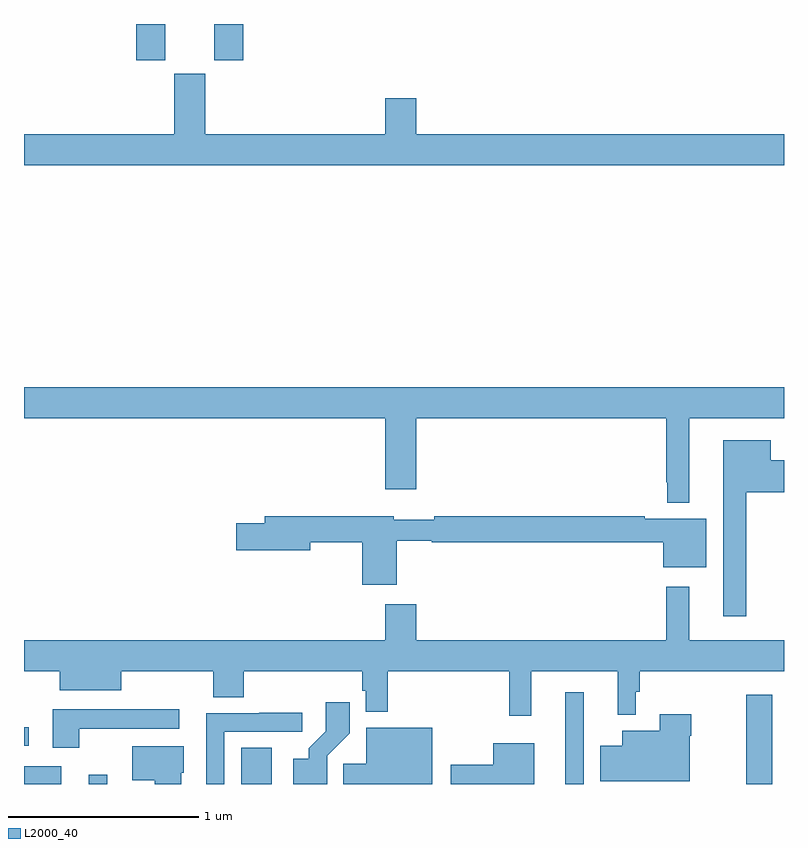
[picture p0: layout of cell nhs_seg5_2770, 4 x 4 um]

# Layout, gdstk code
import gdstk
lib = gdstk.Library(unit=1e-6, precision=1e-09)
def R(c, l, rs):  # rectangles x0, y0, x1, y1
    for r in rs: c.add(gdstk.rectangle(r[:2], r[2:], *l))
def P(c, l, *ps):  # polygons
    for p in ps: c.add(gdstk.Polygon(p, *l))
L2000_40 = (2000, 40)

nhs_seg5_2770 = lib.new_cell('nhs_seg5_2770')
R(nhs_seg5_2770, L2000_40, [(271,890.799,271.195,890.893), (271.34,890.799,271.438,890.848), (272.144,890.799,272.305,890.989), (273.848,890.799,273.945,891.283), (274.801,890.799,274.939,891.268), (271,891,271.024,891.097), (271.592,894.609,271.744,894.799), (272,894.609,272.153,894.799)])
P(nhs_seg5_2770, L2000_40, [(275,894.22),(273.064,894.22),(273.064,894.409),(272.9,894.409),(272.9,894.22),(271.954,894.22),(271.954,894.537),(271.79,894.537),(271.79,894.22),(271,894.22),(271,894.056),(275,894.056)],
  [(274.501,892.724),(275,892.724),(275,892.888),(271,892.888),(271,892.724),(272.9,892.724),(272.9,892.35),(273.064,892.35),(273.064,892.724),(274.38,892.724),(274.38,892.387),(274.386,892.387),(274.386,892.28),(274.501,892.28)],
  [(274.801,892.334),(275,892.334),(275,892.504),(274.93,892.504),(274.93,892.609),(274.679,892.609),(274.679,891.681),(274.801,891.681)],
  [(272.963,892.08),(273.146,892.08),(273.146,892.072),(274.364,892.072),(274.364,891.941),(274.591,891.941),(274.591,892.195),(274.268,892.195),(274.268,892.208),(273.16,892.208),(273.16,892.189),(272.946,892.189),(272.946,892.208),(272.267,892.208),(272.267,892.172),(272.118,892.172),(272.118,892.03),(272.506,892.03),(272.506,892.072),(272.78,892.072),(272.78,891.849),(272.963,891.849)],
  [(273.671,891.392),(274.124,891.392),(274.124,891.164),(274.221,891.164),(274.221,891.285),(274.241,891.285),(274.241,891.392),(275,891.392),(275,891.556),(274.501,891.556),(274.501,891.838),(274.38,891.838),(274.38,891.556),(273.064,891.556),(273.064,891.745),(272.9,891.745),(272.9,891.556),(271,891.556),(271,891.392),(271.187,891.392),(271.187,891.293),(271.513,891.293),(271.513,891.392),(271.996,891.392),(271.996,891.256),(272.156,891.256),(272.156,891.392),(272.779,891.392),(272.779,891.291),(272.799,891.291),(272.799,891.179),(272.915,891.179),(272.915,891.392),(273.553,891.392),(273.553,891.159),(273.671,891.159)],
  [(272.595,890.947),(272.714,891.066),(272.714,891.229),(272.589,891.229),(272.589,891.077),(272.498,890.987),(272.498,890.932),(272.418,890.932),(272.418,890.799),(272.595,890.799)],
  [(271.291,891.089),(271.816,891.089),(271.816,891.193),(271.151,891.193),(271.151,890.991),(271.291,890.991)],
  [(272.055,891.075),(272.464,891.075),(272.464,891.174),(272.239,891.174),(272.239,891.171),(271.959,891.171),(271.959,890.799),(272.055,890.799)],
  [(274.504,891.053),(274.512,891.053),(274.512,891.166),(274.346,891.166),(274.346,891.079),(274.148,891.079),(274.148,891.001),(274.034,891.001),(274.034,890.813),(274.504,890.813)],
  [(273.148,891.094),(272.801,891.094),(272.801,890.906),(272.68,890.906),(272.68,890.799),(273.148,890.799)],
  [(273.685,891.013),(273.47,891.013),(273.47,890.9),(273.246,890.9),(273.246,890.799),(273.685,890.799)],
  [(271.828,890.859),(271.84,890.859),(271.84,890.998),(271.571,890.998),(271.571,890.819),(271.688,890.819),(271.688,890.799),(271.828,890.799)])

lib.write_gds('nhs_seg5_2770.gds')
